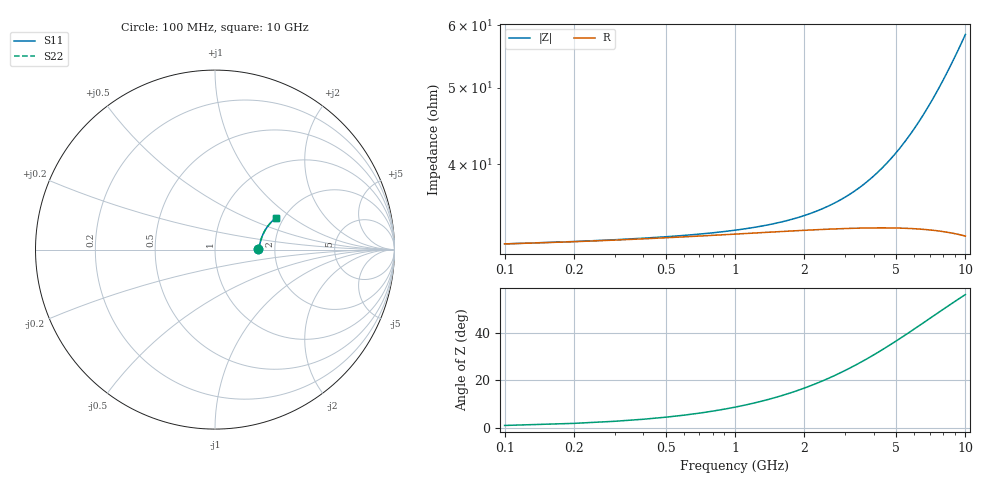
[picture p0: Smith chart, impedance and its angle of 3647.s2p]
# Hz S RI R 50.00
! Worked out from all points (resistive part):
!   100 points, 100 MHz to 10 GHz, reference 50 ohm
!   read as one part in series: R = 31.7 ohm at 100 MHz
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1e8  0.2407 0.00219  0.7593 -0.00345  0.7593 -0.00345  0.2407 0.00219
2e8  0.2419 0.00435  0.7581 -0.00688  0.7581 -0.00688  0.2419 0.00435
4e8  0.2436 0.00866  0.7564 -0.0137  0.7564 -0.0137  0.2436 0.00866
7e8  0.2455 0.0151  0.7545 -0.0239  0.7545 -0.0239  0.2455 0.0151
1.3e9  0.2486 0.0277  0.7512 -0.0442  0.7512 -0.0442  0.2486 0.0277
1.8e9  0.2512 0.0381  0.7485 -0.0609  0.7485 -0.0609  0.2512 0.0381
2.2e9  0.2535 0.0464  0.7461 -0.0742  0.7461 -0.0742  0.2535 0.0464
2.6e9  0.2559 0.0545  0.7434 -0.0874  0.7434 -0.0874  0.2559 0.0545
3e9  0.2586 0.0625  0.7406 -0.1005  0.7406 -0.1005  0.2586 0.0625
3.4e9  0.2615 0.0705  0.7375 -0.1135  0.7375 -0.1135  0.2615 0.0705
3.8e9  0.2646 0.0783  0.7341 -0.1264  0.7341 -0.1264  0.2646 0.0783
4.2e9  0.2679 0.0859  0.7305 -0.1391  0.7305 -0.1391  0.2679 0.0859
4.6e9  0.2715 0.0935  0.7266 -0.1517  0.7266 -0.1517  0.2715 0.0935
5.1e9  0.2763 0.1027  0.7213 -0.1673  0.7213 -0.1673  0.2763 0.1027
5.5e9  0.2804 0.1098  0.7168 -0.1795  0.7168 -0.1795  0.2804 0.1098
5.9e9  0.2848 0.1168  0.7121 -0.1916  0.7121 -0.1916  0.2848 0.1168
6.7e9  0.2941 0.1303  0.7018 -0.2152  0.7018 -0.2152  0.2941 0.1303
7.5e9  0.3042 0.1429  0.6907 -0.2381  0.6907 -0.2381  0.3042 0.1429
8e9  0.3109 0.1504  0.6832 -0.2519  0.6832 -0.2519  0.3109 0.1504
8.4e9  0.3165 0.1561  0.6771 -0.2628  0.6771 -0.2628  0.3165 0.1561
9.2e9  0.3281 0.1669  0.6641 -0.2838  0.6641 -0.2838  0.3281 0.1669
1e10  0.3403 0.1768  0.6505 -0.304  0.6505 -0.304  0.3403 0.1768
